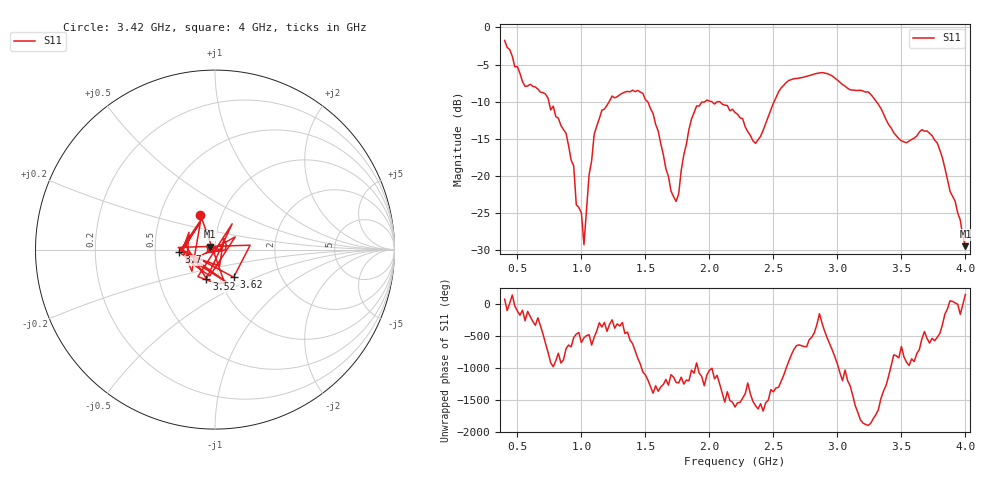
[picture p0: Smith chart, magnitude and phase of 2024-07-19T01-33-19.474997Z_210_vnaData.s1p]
!Created with skrf (http://scikit-rf.org).
# Hz S RI R 50.0
!freq ReS11 ImS11
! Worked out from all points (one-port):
!   181 points, 400 MHz to 4 GHz, reference 50 ohm
!   lowest |S11| = -29.5 dB at 4 GHz (marker M1), VSWR 1.07, Z = 47.1 + j1.59 ohm
!   |S11| at or under -10 dB: 745.6 MHz to 1.216 GHz (470.8 MHz wide, 48 % of centre); 1.517 GHz to 1.964 GHz (446.9 MHz wide, 25.7 % of centre); 3.305 GHz to end of sweep (the widest 3 of 5)
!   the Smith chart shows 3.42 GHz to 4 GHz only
!   S11 on the Smith chart (normalised r, x): 3.42 GHz: 0.79, +0.32; 3.52 GHz: 0.86, -0.29; 3.62 GHz: 1.17, -0.37; 3.7 GHz: 0.67, -0.02; 4 GHz: 0.94, +0.03
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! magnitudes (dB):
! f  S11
! 400 MHz  -1.7
! 560 MHz  -7.9
! 720 MHz  -9.0
! 860 MHz  -13.8
! 940 MHz  -18.7
! 960 MHz  -23.9
! 1 GHz  -25.0
! 1.02 GHz  -29.3
! 1.06 GHz  -19.8
! 1.1 GHz  -14.4
! 1.3 GHz  -9.1
! 1.48 GHz  -8.9
! 1.6 GHz  -13.9
! 1.7 GHz  -22.0
! 1.76 GHz  -22.4
! 1.9 GHz  -10.6
! 2.2 GHz  -11.4
! 2.36 GHz  -15.6
! 2.66 GHz  -6.9
! 3.1 GHz  -8.4
! 3.24 GHz  -8.7
! 3.42 GHz  -13.5
! 3.52 GHz  -15.4
! 3.56 GHz  -15.3
! 3.62 GHz  -14.6
! 3.7 GHz  -13.9
! 3.82 GHz  -17.5
! 4 GHz  -29.5
